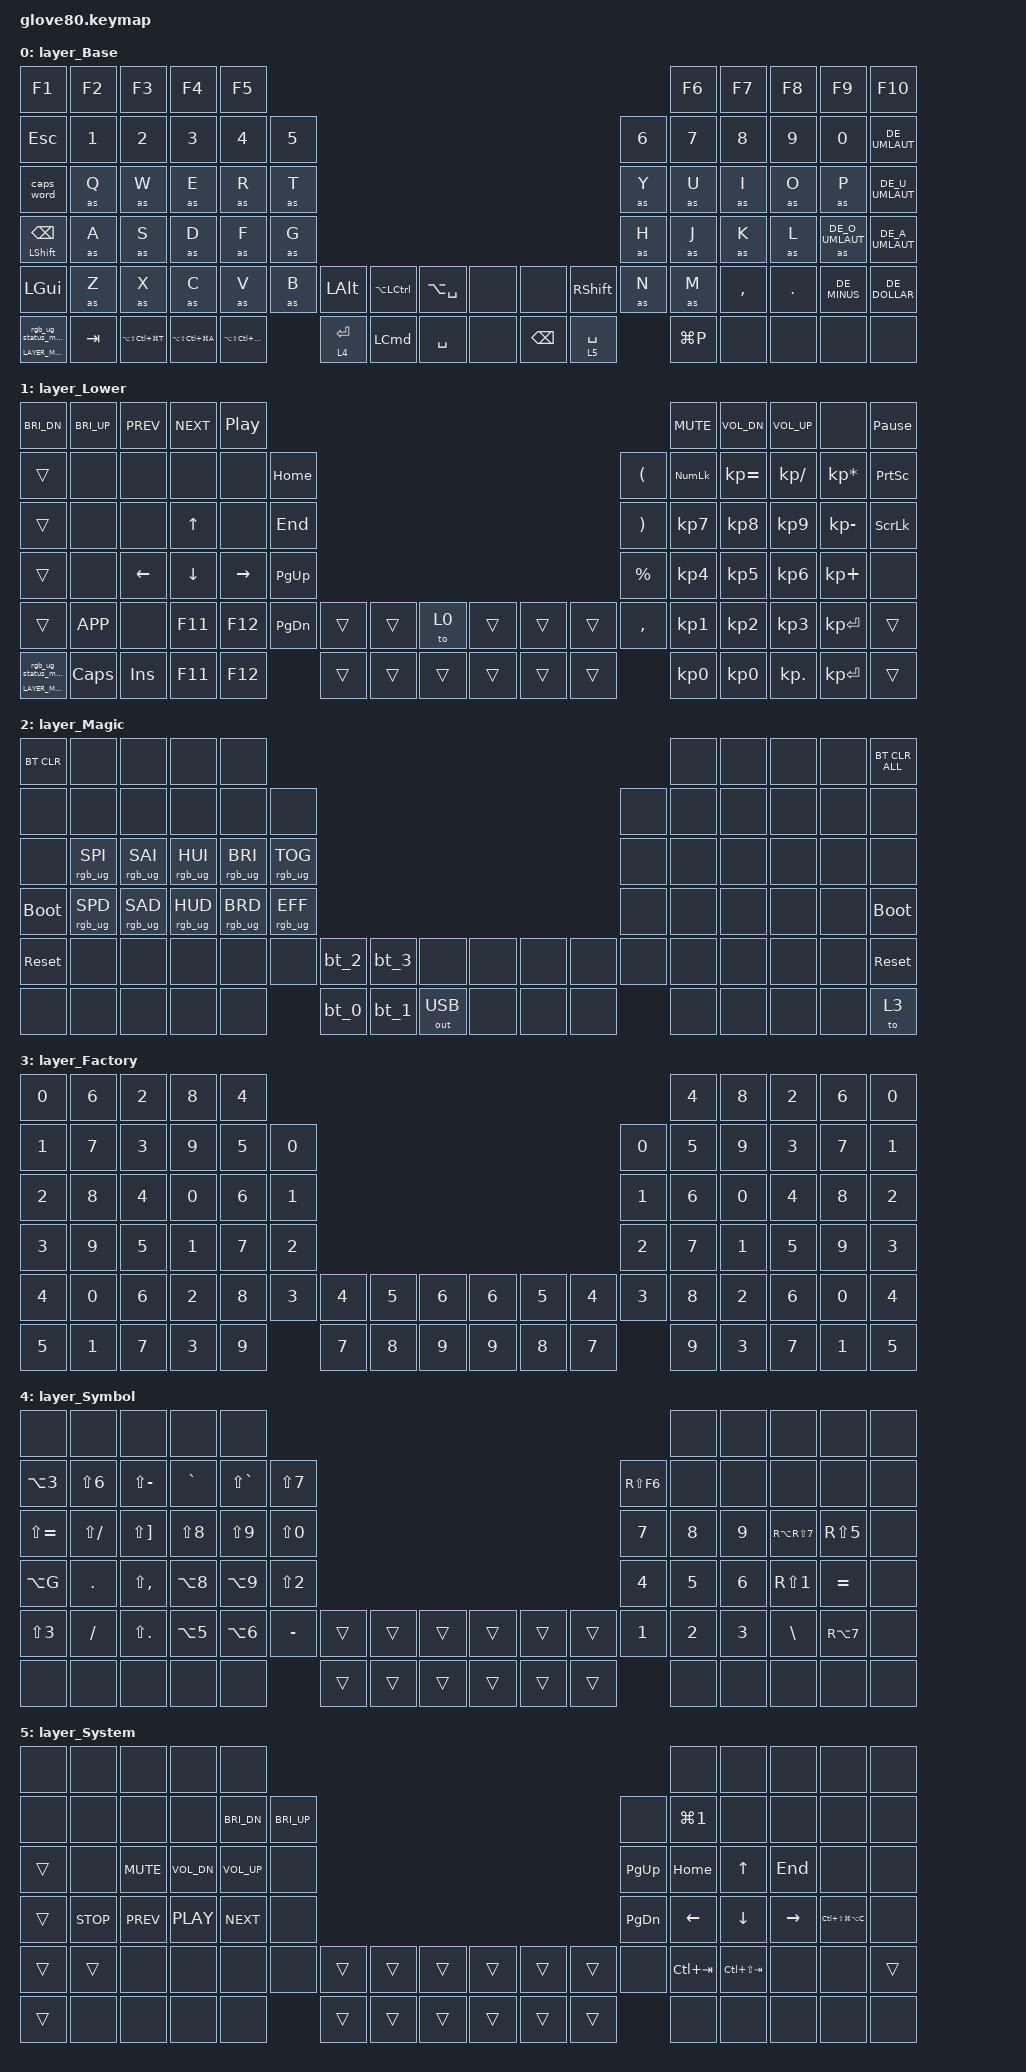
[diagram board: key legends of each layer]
/*
 * Copyright (c) 2020 The ZMK Contributors
 * Copyright (c) 2023 Innaworks Development Limited, trading as MoErgo
 *
 * SPDX-License-Identifier: MIT
 */
/* THIS FILE WAS GENERATED BY GLOVE80 LAYOUT EDITOR
 *
 * This file was generated automatically. You may or may not want to
 * edit it directly.
 */
/* Include all behaviour includes needed */

#include "keys_de_swiss.h"
#include <behaviors.dtsi>
#include <dt-bindings/zmk/bt.h>
#include <dt-bindings/zmk/keys.h>
#include <dt-bindings/zmk/outputs.h>
#include <dt-bindings/zmk/rgb.h>

/* Automatically generated layer name #define */

#define LAYER_Base 0
#define LAYER_Lower 1
#define LAYER_Magic 2
#define LAYER_Factory 3
#define LAYER_Symbol 4
#define LAYER_System 5

/* To deal with the situation where there is no Lower layer, to keep &lower happy */

#ifndef LAYER_Lower
#define LAYER_Lower 0
#endif

/* Custom Device-tree */
/* Glove80 system behavior & macros */

/ {
    behaviors {
        // For the "layer" key, it'd nice to be able to use it as either a shift or a toggle.
        // Configure it as a tap dance, so the first tap (or hold) is a &mo and the second tap is a &to

        lower: lower {
            compatible = "zmk,behavior-tap-dance";
            label = "LAYER_TAP_DANCE";
            #binding-cells = <0>;
            tapping-term-ms = <200>;
            bindings = <&mo LAYER_Lower>, <&to LAYER_Lower>;
        };
    };
};

/ {
    macros {
        rgb_ug_status_macro: rgb_ug_status_macro {
            label = "RGB_UG_STATUS";
            compatible = "zmk,behavior-macro";
            #binding-cells = <0>;
            bindings = <&rgb_ug RGB_STATUS>;
        };
    };
};

/ {
    #ifdef BT_DISC_CMD

    behaviors {
        bt_0: bt_0 {
            compatible = "zmk,behavior-tap-dance";
            label = "BT_0";
            #binding-cells = <0>;
            tapping-term-ms = <200>;
            bindings = <&bt_select_0>, <&bt BT_DISC 0>;
        };

        bt_1: bt_1 {
            compatible = "zmk,behavior-tap-dance";
            label = "BT_1";
            #binding-cells = <0>;
            tapping-term-ms = <200>;
            bindings = <&bt_select_1>, <&bt BT_DISC 1>;
        };

        bt_2: bt_2 {
            compatible = "zmk,behavior-tap-dance";
            label = "BT_2";
            #binding-cells = <0>;
            tapping-term-ms = <200>;
            bindings = <&bt_select_2>, <&bt BT_DISC 2>;
        };

        bt_3: bt_3 {
            compatible = "zmk,behavior-tap-dance";
            label = "BT_3";
            #binding-cells = <0>;
            tapping-term-ms = <200>;
            bindings = <&bt_select_3>, <&bt BT_DISC 3>;
        };
    };

    macros {
        bt_select_0: bt_select_0 {
            label = "BT_SELECT_0";
            compatible = "zmk,behavior-macro";
            #binding-cells = <0>;
            bindings = <&out OUT_BLE &bt BT_SEL 0>;
        };

        bt_select_1: bt_select_1 {
            label = "BT_SELECT_1";
            compatible = "zmk,behavior-macro";
            #binding-cells = <0>;
            bindings = <&out OUT_BLE &bt BT_SEL 1>;
        };

        bt_select_2: bt_select_2 {
            label = "BT_SELECT_2";
            compatible = "zmk,behavior-macro";
            #binding-cells = <0>;
            bindings = <&out OUT_BLE &bt BT_SEL 2>;
        };

        bt_select_3: bt_select_3 {
            label = "BT_SELECT_3";
            compatible = "zmk,behavior-macro";
            #binding-cells = <0>;
            bindings = <&out OUT_BLE &bt BT_SEL 3>;
        };
    };

    #else

    macros {
        bt_0: bt_0 {
            label = "BT_0";
            compatible = "zmk,behavior-macro";
            #binding-cells = <0>;
            bindings = <&out OUT_BLE &bt BT_SEL 0>;
        };

        bt_1: bt_1 {
            label = "BT_1";
            compatible = "zmk,behavior-macro";
            #binding-cells = <0>;
            bindings = <&out OUT_BLE &bt BT_SEL 1>;
        };

        bt_2: bt_2 {
            label = "BT_2";
            compatible = "zmk,behavior-macro";
            #binding-cells = <0>;
            bindings = <&out OUT_BLE &bt BT_SEL 2>;
        };

        bt_3: bt_3 {
            label = "BT_3";
            compatible = "zmk,behavior-macro";
            #binding-cells = <0>;
            bindings = <&out OUT_BLE &bt BT_SEL 3>;
        };
    };

    #endif
};

/ {
    behaviors {
        magic: magic {
            compatible = "zmk,behavior-hold-tap";
            label = "MAGIC_HOLD_TAP";
            #binding-cells = <2>;
            flavor = "tap-preferred";
            tapping-term-ms = <200>;
            bindings = <&mo>, <&rgb_ug_status_macro>;
        };
    };
};
/ {
    behaviors {
        as_ht: autoshift_hold_tap {
            compatible = "zmk,behavior-hold-tap";
            label = "AUTOSHIFT_HOLD_TAP";
            #binding-cells = <2>;
            tapping-term-ms = <200>;
            flavor = "tap-preferred";
            bindings = <&shifted>, <&kp>;
        };
    };
};

/ {
    macros {
        shifted: macro_shifted_kp {
            #binding-cells = <1>;
            label = "MACRO_SHIFTED_KP";
            compatible = "zmk,behavior-macro-one-param";
            bindings =
            <&macro_press &kp LSHFT>,
            <&macro_param_1to1 &macro_tap &kp MACRO_PLACEHOLDER>,
            <&macro_release &kp LSHFT>;
        };

        as: autoshift {
            compatible = "zmk,behavior-macro-one-param";
            #binding-cells = <1>;
            label = "AUTOSHIFT_KP";
            bindings =
            <&macro_press>,
            <&macro_param_1to1>,
            <&macro_param_1to2>,
            <&as_ht MACRO_PLACEHOLDER MACRO_PLACEHOLDER>,
            <&macro_pause_for_release>,
            <&macro_release>,
            <&macro_param_1to1>,
            <&macro_param_1to2>,
            <&as_ht MACRO_PLACEHOLDER MACRO_PLACEHOLDER>;
        };
    };
};

/* #define for key positions */

#define POS_LH_T1 52
#define POS_LH_T2 53
#define POS_LH_T3 54
#define POS_LH_T4 69
#define POS_LH_T5 70
#define POS_LH_T6 71
#define POS_LH_C1R2 15
#define POS_LH_C1R3 27
#define POS_LH_C1R4 39
#define POS_LH_C1R5 51
#define POS_LH_C2R1 4
#define POS_LH_C2R2 14
#define POS_LH_C2R3 26
#define POS_LH_C2R4 38
#define POS_LH_C2R5 50
#define POS_LH_C2R6 68
#define POS_LH_C3R1 3
#define POS_LH_C3R2 13
#define POS_LH_C3R3 25
#define POS_LH_C3R4 37
#define POS_LH_C3R5 49
#define POS_LH_C3R6 67
#define POS_LH_C4R1 2
#define POS_LH_C4R2 12
#define POS_LH_C4R3 24
#define POS_LH_C4R4 36
#define POS_LH_C4R5 48
#define POS_LH_C4R6 66
#define POS_LH_C5R1 1
#define POS_LH_C5R2 11
#define POS_LH_C5R3 23
#define POS_LH_C5R4 35
#define POS_LH_C5R5 47
#define POS_LH_C5R6 65
#define POS_LH_C6R1 0
#define POS_LH_C6R2 10
#define POS_LH_C6R3 22
#define POS_LH_C6R4 34
#define POS_LH_C6R5 46
#define POS_LH_C6R6 64
#define POS_RH_T1 57
#define POS_RH_T2 56
#define POS_RH_T3 55
#define POS_RH_T4 74
#define POS_RH_T5 73
#define POS_RH_T6 72
#define POS_RH_C1R2 16
#define POS_RH_C1R3 28
#define POS_RH_C1R4 40
#define POS_RH_C1R5 58
#define POS_RH_C2R1 5
#define POS_RH_C2R2 17
#define POS_RH_C2R3 29
#define POS_RH_C2R4 41
#define POS_RH_C2R5 59
#define POS_RH_C2R6 75
#define POS_RH_C3R1 6
#define POS_RH_C3R2 18
#define POS_RH_C3R3 30
#define POS_RH_C3R4 42
#define POS_RH_C3R5 60
#define POS_RH_C3R6 76
#define POS_RH_C4R1 7
#define POS_RH_C4R2 19
#define POS_RH_C4R3 31
#define POS_RH_C4R4 43
#define POS_RH_C4R5 61
#define POS_RH_C4R6 77
#define POS_RH_C5R1 8
#define POS_RH_C5R2 20
#define POS_RH_C5R3 32
#define POS_RH_C5R4 44
#define POS_RH_C5R5 62
#define POS_RH_C5R6 78
#define POS_RH_C6R1 9
#define POS_RH_C6R2 21
#define POS_RH_C6R3 33
#define POS_RH_C6R4 45
#define POS_RH_C6R5 63
#define POS_RH_C6R6 79

/* Custom Defined Behaviors */

/ {
};

/* Automatically generated macro definitions */

/ {
    macros {
    };
};

/* Automatically generated keymap */

/ {
    keymap {
        compatible = "zmk,keymap";

        layer_Base {
            bindings = <
&kp F1                &kp F2   &kp F3                 &kp F4                 &kp F5                                                                                                                       &kp F6     &kp F7     &kp F8   &kp F9           &kp F10
&kp ESC               &kp N1   &kp N2                 &kp N3                 &kp N4                 &kp N5                                                                                        &kp N6  &kp N7     &kp N8     &kp N9   &kp N0           &kp DE_UMLAUT
&caps_word            &as Q    &as W                  &as E                  &as R                  &as T                                                                                         &as Y   &as U      &as I      &as O    &as P            &kp DE_U_UMLAUT
&mt LSHFT BSPC        &as A    &as S                  &as D                  &as F                  &as G                                                                                         &as H   &as J      &as K      &as L    &as DE_O_UMLAUT  &kp DE_A_UMLAUT
&kp LGUI              &as Z    &as X                  &as C                  &as V                  &as B   &kp LEFT_ALT  &kp LA(LEFT_CONTROL)  &kp LA(SPACE)  &none  &none          &kp RSHIFT   &as N   &as M      &kp COMMA  &kp DOT  &kp DE_MINUS     &kp DE_DOLLAR
&magic LAYER_Magic 0  &kp TAB  &kp LA(LS(LC(LG(T))))  &kp LA(LS(LC(LG(A))))  &kp LA(LS(LC(LG(W))))          &lt 4 RET     &kp LEFT_COMMAND      &kp SPACE      &none  &kp BACKSPACE  &lt 5 SPACE          &kp LG(P)  &none      &none    &none            &none
            >;
        };

        layer_Lower {
            bindings = <
&kp C_BRI_DN          &kp C_BRI_UP  &kp C_PREV      &kp C_NEXT      &kp C_PP                                                                                           &kp C_MUTE  &kp C_VOL_DN  &kp C_VOL_UP  &none            &kp PAUSE_BREAK
&trans                &none         &none           &none           &none            &kp HOME                                                   &kp LEFT_PARENTHESIS   &kp KP_NUM  &kp KP_EQUAL  &kp KP_SLASH  &kp KP_MULTIPLY  &kp PRINTSCREEN
&trans                &none         &none           &kp UP_ARROW    &none            &kp END                                                    &kp RIGHT_PARENTHESIS  &kp KP_N7   &kp KP_N8     &kp KP_N9     &kp KP_MINUS     &kp SCROLLLOCK
&trans                &none         &kp LEFT_ARROW  &kp DOWN_ARROW  &kp RIGHT_ARROW  &kp PG_UP                                                  &kp PERCENT            &kp KP_N4   &kp KP_N5     &kp KP_N6     &kp KP_PLUS      &none
&trans                &kp K_APP     &none           &kp F11         &kp F12          &kp PG_DN  &trans  &trans  &to 0   &trans  &trans  &trans  &kp COMMA              &kp KP_N1   &kp KP_N2     &kp KP_N3     &kp KP_ENTER     &trans
&magic LAYER_Magic 0  &kp CAPS      &kp INS         &kp F11         &kp F12                     &trans  &trans  &trans  &trans  &trans  &trans                         &kp KP_N0   &kp KP_N0     &kp KP_DOT    &kp KP_ENTER     &trans
            >;
        };

        layer_Magic {
            bindings = <
&bt BT_CLR   &none            &none            &none            &none                                                                                     &none  &none  &none  &none  &bt BT_CLR_ALL
&none        &none            &none            &none            &none            &none                                                             &none  &none  &none  &none  &none  &none
&none        &rgb_ug RGB_SPI  &rgb_ug RGB_SAI  &rgb_ug RGB_HUI  &rgb_ug RGB_BRI  &rgb_ug RGB_TOG                                                   &none  &none  &none  &none  &none  &none
&bootloader  &rgb_ug RGB_SPD  &rgb_ug RGB_SAD  &rgb_ug RGB_HUD  &rgb_ug RGB_BRD  &rgb_ug RGB_EFF                                                   &none  &none  &none  &none  &none  &bootloader
&sys_reset   &none            &none            &none            &none            &none            &bt_2  &bt_3  &none         &none  &none  &none  &none  &none  &none  &none  &none  &sys_reset
&none        &none            &none            &none            &none                             &bt_0  &bt_1  &out OUT_USB  &none  &none  &none         &none  &none  &none  &none  &to 3
            >;
        };

        layer_Factory {
            bindings = <
&kp NUMBER_0  &kp NUMBER_6  &kp NUMBER_2  &kp NUMBER_8  &kp NUMBER_4                                                                                                                  &kp NUMBER_4  &kp NUMBER_8  &kp NUMBER_2  &kp NUMBER_6  &kp NUMBER_0
&kp NUMBER_1  &kp NUMBER_7  &kp NUMBER_3  &kp NUMBER_9  &kp NUMBER_5  &kp NUMBER_0                                                                                      &kp NUMBER_0  &kp NUMBER_5  &kp NUMBER_9  &kp NUMBER_3  &kp NUMBER_7  &kp NUMBER_1
&kp NUMBER_2  &kp NUMBER_8  &kp NUMBER_4  &kp NUMBER_0  &kp NUMBER_6  &kp NUMBER_1                                                                                      &kp NUMBER_1  &kp NUMBER_6  &kp NUMBER_0  &kp NUMBER_4  &kp NUMBER_8  &kp NUMBER_2
&kp NUMBER_3  &kp NUMBER_9  &kp NUMBER_5  &kp NUMBER_1  &kp NUMBER_7  &kp NUMBER_2                                                                                      &kp NUMBER_2  &kp NUMBER_7  &kp NUMBER_1  &kp NUMBER_5  &kp NUMBER_9  &kp NUMBER_3
&kp NUMBER_4  &kp NUMBER_0  &kp NUMBER_6  &kp NUMBER_2  &kp NUMBER_8  &kp NUMBER_3  &kp NUMBER_4  &kp NUMBER_5  &kp NUMBER_6  &kp NUMBER_6  &kp NUMBER_5  &kp NUMBER_4  &kp NUMBER_3  &kp NUMBER_8  &kp NUMBER_2  &kp NUMBER_6  &kp NUMBER_0  &kp NUMBER_4
&kp NUMBER_5  &kp NUMBER_1  &kp NUMBER_7  &kp NUMBER_3  &kp NUMBER_9                &kp NUMBER_7  &kp NUMBER_8  &kp NUMBER_9  &kp NUMBER_9  &kp NUMBER_8  &kp NUMBER_7                &kp NUMBER_9  &kp NUMBER_3  &kp NUMBER_7  &kp NUMBER_1  &kp NUMBER_5
            >;
        };

        layer_Symbol {
            bindings = <
&none          &none         &none          &none       &none                                                                                  &none   &none   &none           &none       &none
&kp LA(N3)     &kp LS(N6)    &kp LS(MINUS)  &kp GRAVE   &kp LS(GRAVE)  &kp LS(N7)                                                  &kp RS(F6)  &none   &none   &none           &none       &none
&kp LS(EQUAL)  &kp LS(FSLH)  &kp LS(RBKT)   &kp LS(N8)  &kp LS(N9)     &kp LS(N0)                                                  &kp N7      &kp N8  &kp N9  &kp RA(RS(N7))  &kp RS(N5)  &none
&kp LA(G)      &kp DOT       &kp LS(COMMA)  &kp LA(N8)  &kp LA(N9)     &kp LS(N2)                                                  &kp N4      &kp N5  &kp N6  &kp RS(N1)      &kp EQUAL   &none
&kp LS(N3)     &kp FSLH      &kp LS(DOT)    &kp LA(N5)  &kp LA(N6)     &kp MINUS   &trans  &trans  &trans  &trans  &trans  &trans  &kp N1      &kp N2  &kp N3  &kp BSLH        &kp RA(N7)  &none
&none          &none         &none          &none       &none                      &trans  &trans  &trans  &trans  &trans  &trans              &none   &none   &none           &none       &none
            >;
        };

        layer_System {
            bindings = <
&none   &none       &none       &none         &none                                                                                  &none        &none            &none      &none                  &none
&none   &none       &none       &none         &kp C_BRI_DN  &kp C_BRI_UP                                                  &none      &kp LG(N1)   &none            &none      &none                  &none
&trans  &none       &kp C_MUTE  &kp C_VOL_DN  &kp C_VOL_UP  &none                                                         &kp PG_UP  &kp HOME     &kp UP           &kp END    &none                  &none
&trans  &kp C_STOP  &kp C_PREV  &kp C_PLAY    &kp C_NEXT    &none                                                         &kp PG_DN  &kp LEFT     &kp DOWN         &kp RIGHT  &kp LC(LS(LG(LA(C))))  &none
&trans  &trans      &none       &none         &none         &none         &trans  &trans  &trans  &trans  &trans  &trans  &none      &kp LC(TAB)  &kp LC(LS(TAB))  &none      &none                  &trans
&trans  &none       &none       &none         &none                       &trans  &trans  &trans  &trans  &trans  &trans             &none        &none            &none      &none                  &none
            >;
        };
    };
};
